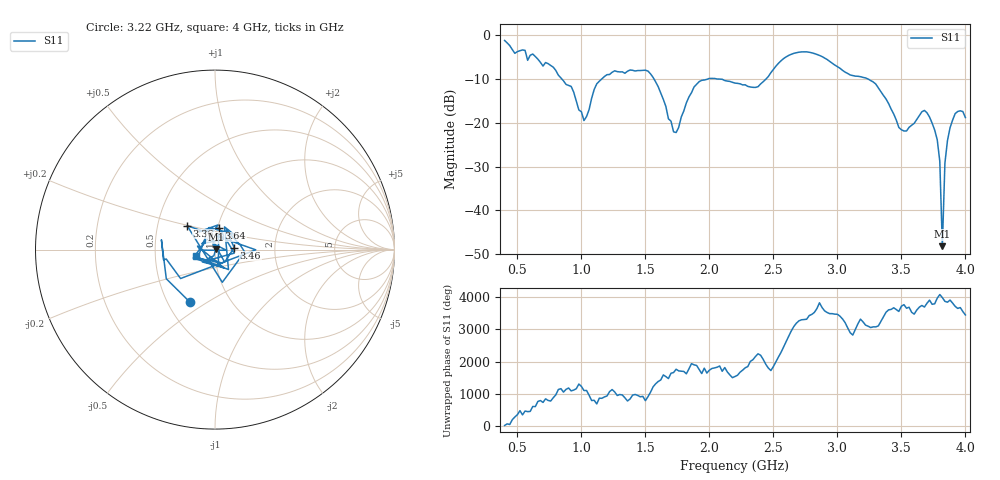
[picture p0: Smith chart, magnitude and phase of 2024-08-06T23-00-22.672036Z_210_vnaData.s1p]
!Created with skrf (http://scikit-rf.org).
# Hz S RI R 50.0
!freq ReS11 ImS11
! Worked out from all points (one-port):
!   181 points, 400 MHz to 4 GHz, reference 50 ohm
!   lowest |S11| = -48.2 dB at 3.82 GHz (marker M1), VSWR 1.01, Z = 50.4 + j0.101 ohm
!   |S11| at or under -10 dB: 1.567 GHz to 1.988 GHz (420.9 MHz wide, 23.7 % of centre); 2.06 GHz to 2.442 GHz (382.6 MHz wide, 17 % of centre); 3.24 GHz to end of sweep (the widest 3 of 4)
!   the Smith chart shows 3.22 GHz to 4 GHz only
!   S11 on the Smith chart (normalised r, x): 3.22 GHz: 0.65, -0.43; 3.36 GHz: 0.71, +0.20; 3.46 GHz: 1.24, +0.03; 3.64 GHz: 1.02, +0.25; 4 GHz: 0.80, -0.06
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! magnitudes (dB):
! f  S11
! 400 MHz  -1.2
! 860 MHz  -10.4
! 920 MHz  -11.7
! 1.02 GHz  -19.5
! 1.12 GHz  -11.1
! 1.3 GHz  -8.4
! 1.52 GHz  -8.2
! 1.6 GHz  -11.8
! 1.72 GHz  -22.1
! 1.76 GHz  -21.1
! 1.92 GHz  -10.6
! 2.2 GHz  -10.9
! 2.38 GHz  -11.8
! 2.66 GHz  -4.1
! 3.1 GHz  -9.1
! 3.22 GHz  -9.8
! 3.36 GHz  -13.8
! 3.46 GHz  -19.4
! 3.56 GHz  -21.0
! 3.64 GHz  -18.3
! 3.7 GHz  -17.7
! 3.78 GHz  -23.9
! 3.8 GHz  -28.8
! 3.82 GHz  -48.2
! 3.84 GHz  -29.2
! 3.86 GHz  -24.1
! 3.92 GHz  -17.9
! 4 GHz  -18.8
